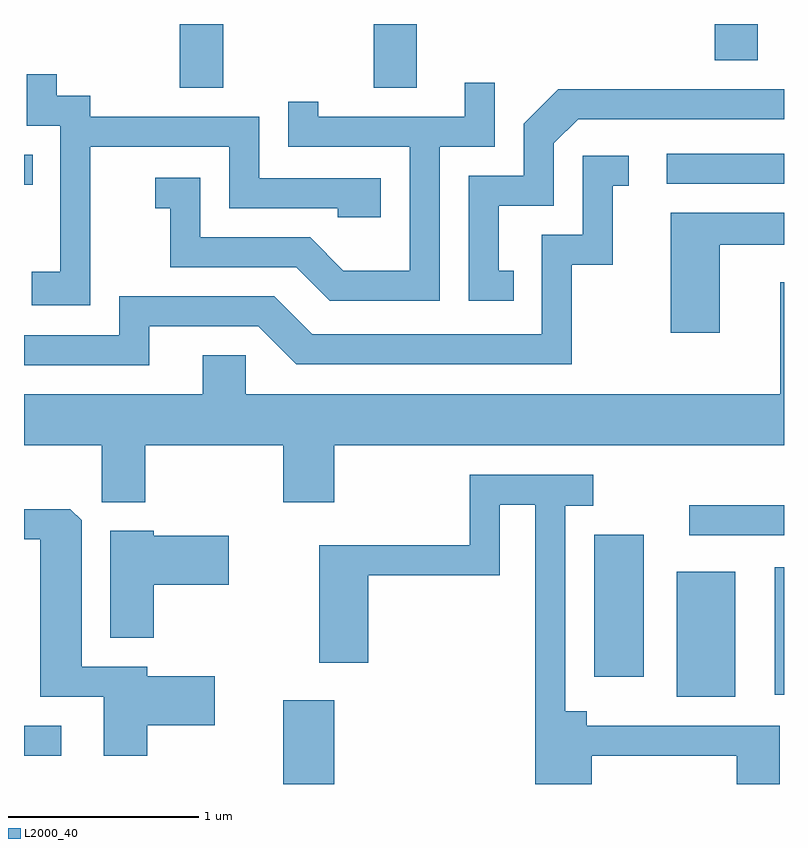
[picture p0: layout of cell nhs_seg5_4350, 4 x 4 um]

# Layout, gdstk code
import gdstk
lib = gdstk.Library(unit=1e-6, precision=1e-09)
def R(c, l, rs):  # rectangles x0, y0, x1, y1
    for r in rs: c.add(gdstk.rectangle(r[:2], r[2:], *l))
def P(c, l, *ps):  # polygons
    for p in ps: c.add(gdstk.Polygon(p, *l))
L2000_40 = (2000, 40)

nhs_seg5_4350 = lib.new_cell('nhs_seg5_4350')
R(nhs_seg5_4350, L2000_40, [(314.976,1506.072,315.244,1506.514), (313.611,1506.221,313.808,1506.379), (317.046,1506.531,317.354,1507.189), (317.561,1506.541,317.611,1507.214), (316.611,1506.636,316.874,1507.384), (317.113,1507.381,317.611,1507.539), (313.611,1509.226,313.658,1509.384), (316.993,1509.231,317.611,1509.389), (314.431,1509.736,314.659,1510.072), (315.451,1509.736,315.679,1510.072), (317.246,1509.881,317.474,1510.072)])
P(nhs_seg5_4350, L2000_40, [(313.959,1509.426),(314.691,1509.426),(314.691,1509.101),(315.261,1509.101),(315.261,1509.056),(315.489,1509.056),(315.489,1509.259),(314.849,1509.259),(314.849,1509.584),(313.959,1509.584),(313.959,1509.694),(313.784,1509.694),(313.784,1509.808),(313.626,1509.808),(313.626,1509.536),(313.801,1509.536),(313.801,1508.769),(313.651,1508.769),(313.651,1508.591),(313.959,1508.591)],
  [(315.799,1509.426),(316.089,1509.426),(316.089,1509.763),(315.931,1509.763),(315.931,1509.584),(315.159,1509.584),(315.159,1509.663),(315.001,1509.663),(315.001,1509.426),(315.641,1509.426),(315.641,1508.774),(315.292,1508.774),(315.117,1508.949),(314.539,1508.949),(314.539,1509.264),(314.303,1509.264),(314.303,1509.101),(314.381,1509.101),(314.381,1508.791),(315.044,1508.791),(315.219,1508.616),(315.799,1508.616)],
  [(316.188,1508.774),(316.109,1508.774),(316.109,1509.116),(316.399,1509.116),(316.399,1509.444),(316.527,1509.571),(317.611,1509.571),(317.611,1509.729),(316.424,1509.729),(316.241,1509.547),(316.241,1509.274),(315.951,1509.274),(315.951,1508.616),(316.188,1508.616)],
  [(314.269,1508.481),(314.844,1508.481),(315.044,1508.281),(316.494,1508.281),(316.494,1508.806),(316.709,1508.806),(316.709,1509.221),(316.793,1509.221),(316.793,1509.379),(316.551,1509.379),(316.551,1508.964),(316.336,1508.964),(316.336,1508.439),(315.127,1508.439),(314.927,1508.639),(314.111,1508.639),(314.111,1508.434),(313.611,1508.434),(313.611,1508.276),(314.269,1508.276)],
  [(317.274,1508.911),(317.611,1508.911),(317.611,1509.079),(317.016,1509.079),(317.016,1508.446),(317.274,1508.446)],
  [(314.249,1507.856),(314.976,1507.856),(314.976,1507.556),(315.244,1507.556),(315.244,1507.856),(317.611,1507.856),(317.611,1508.714),(317.591,1508.714),(317.591,1508.124),(314.779,1508.124),(314.779,1508.329),(314.551,1508.329),(314.551,1508.124),(313.611,1508.124),(313.611,1507.856),(314.021,1507.856),(314.021,1507.556),(314.249,1507.556)],
  [(316.599,1506.221),(317.361,1506.221),(317.361,1506.072),(317.589,1506.072),(317.589,1506.379),(316.574,1506.379),(316.574,1506.454),(316.459,1506.454),(316.459,1507.536),(316.608,1507.536),(316.608,1507.699),(315.956,1507.699),(315.956,1507.329),(315.166,1507.329),(315.166,1506.711),(315.424,1506.711),(315.424,1507.171),(316.114,1507.171),(316.114,1507.541),(316.301,1507.541),(316.301,1506.072),(316.599,1506.072)],
  [(314.259,1506.381),(314.614,1506.381),(314.614,1506.639),(314.259,1506.639),(314.259,1506.689),(313.914,1506.689),(313.914,1507.459),(313.854,1507.519),(313.611,1507.519),(313.611,1507.361),(313.696,1507.361),(313.696,1506.531),(314.031,1506.531),(314.031,1506.221),(314.259,1506.221)],
  [(314.294,1507.121),(314.689,1507.121),(314.689,1507.379),(314.294,1507.379),(314.294,1507.404),(314.066,1507.404),(314.066,1506.841),(314.294,1506.841)])

lib.write_gds('nhs_seg5_4350.gds')
